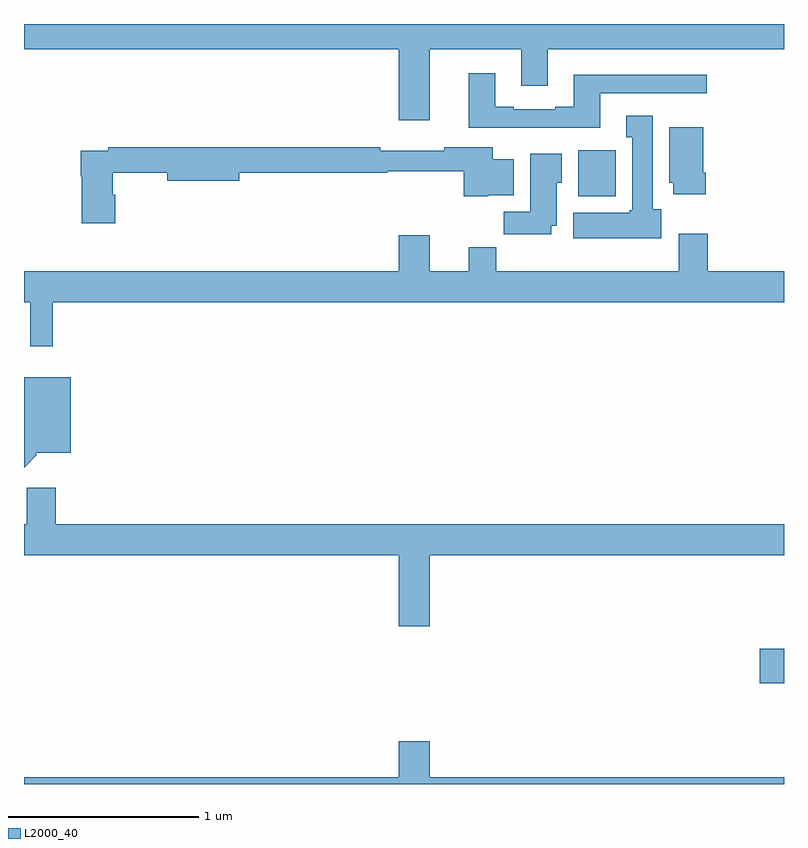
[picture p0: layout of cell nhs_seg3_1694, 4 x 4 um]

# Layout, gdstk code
import gdstk
lib = gdstk.Library(unit=1e-6, precision=1e-09)
def R(c, l, rs):  # rectangles x0, y0, x1, y1
    for r in rs: c.add(gdstk.rectangle(r[:2], r[2:], *l))
def P(c, l, *ps):  # polygons
    for p in ps: c.add(gdstk.Polygon(p, *l))
L2000_40 = (2000, 40)

nhs_seg3_1694 = lib.new_cell('nhs_seg3_1694')
R(nhs_seg3_1694, L2000_40, [(202.872,678.929,203,679.112), (201.917,681.494,202.114,681.736)])
P(nhs_seg3_1694, L2000_40, [(201.136,682.268),(201.617,682.268),(201.617,682.074),(201.757,682.074),(201.757,682.268),(203,682.268),(203,682.4),(199,682.4),(199,682.268),(200.972,682.268),(200.972,681.894),(201.136,681.894)],
  [(202.033,682.035),(202.594,682.035),(202.594,682.132),(201.893,682.132),(201.893,681.964),(201.797,681.964),(201.797,681.951),(201.577,681.951),(201.577,681.964),(201.481,681.964),(201.481,682.141),(201.341,682.141),(201.341,681.854),(202.033,681.854)],
  [(202.354,681.426),(202.309,681.426),(202.309,681.916),(202.169,681.916),(202.169,681.803),(202.202,681.803),(202.202,681.42),(202.189,681.42),(202.189,681.406),(201.89,681.406),(201.89,681.272),(202.354,681.272)],
  [(202.589,681.616),(202.576,681.616),(202.576,681.856),(202.397,681.856),(202.397,681.564),(202.418,681.564),(202.418,681.504),(202.589,681.504)],
  [(199.481,681.501),(199.468,681.501),(199.468,681.616),(199.754,681.616),(199.754,681.574),(200.134,681.574),(200.134,681.616),(200.912,681.616),(200.912,681.624),(201.314,681.624),(201.314,681.494),(201.444,681.494),(201.444,681.5),(201.577,681.5),(201.577,681.688),(201.466,681.688),(201.466,681.752),(201.212,681.752),(201.212,681.733),(200.876,681.733),(200.876,681.752),(199.444,681.752),(199.444,681.732),(199.298,681.732),(199.298,681.599),(199.303,681.599),(199.303,681.351),(199.481,681.351)],
  [(201.775,681.338),(201.805,681.338),(201.805,681.564),(201.829,681.564),(201.829,681.718),(201.665,681.718),(201.665,681.412),(201.526,681.412),(201.526,681.294),(201.775,681.294)],
  [(199.151,680.936),(203,680.936),(203,681.1),(202.598,681.1),(202.598,681.295),(202.445,681.295),(202.445,681.1),(201.485,681.1),(201.485,681.224),(201.341,681.224),(201.341,681.1),(201.136,681.1),(201.136,681.289),(200.972,681.289),(200.972,681.1),(199,681.1),(199,680.936),(199.034,680.936),(199.034,680.703),(199.151,680.703)],
  [(199.064,680.129),(199.064,680.144),(199.246,680.144),(199.246,680.542),(199,680.542),(199,680.065)],
  [(201.136,679.604),(203,679.604),(203,679.768),(199.166,679.768),(199.166,679.959),(199.015,679.959),(199.015,679.768),(199,679.768),(199,679.604),(200.972,679.604),(200.972,679.23),(201.136,679.23)],
  [(203,678.436),(201.136,678.436),(201.136,678.625),(200.972,678.625),(200.972,678.436),(199,678.436),(199,678.4),(203,678.4)])

lib.write_gds('nhs_seg3_1694.gds')
